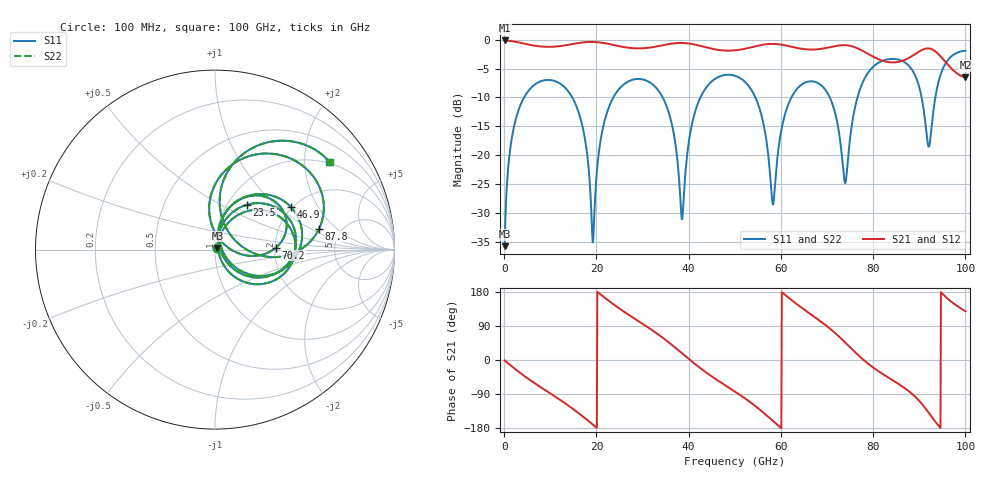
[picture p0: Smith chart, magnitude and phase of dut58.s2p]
! Touchstone file exported from HFSS 2026.1.0
!  File:  C:/ffzhzh/LocalFiles/Ansys_Project_Files/temp_train_TSV_RDL_58_1783622952_33328.aedt
!  Generated:  02:57:29 AM Jul 10, 2026
!  Design:  TSV_RDL
!  Project:  temp_train_TSV_RDL_58_1783622952_33328
! Variables:
!  h_bsmrdl = 4.38um
!  h_ox = 20um
!  h_rdl = 5um
!  h_sub = 87.36um
!  h_tmrdl = 4.51um
!  h_tsv = 87.36um
!  h_via = 3um
!  l_bsmrdl = 303.86um
!  l_sub = 2638.81um
!  l_tmrdl = 310.71um
!  m_sub = 200um
!  pitch = 43.87um
!  r_tsv = 12.69um
!  s_tmrdl = 10um
!  w_bsmrdl = 12.7um
!  w_sub = 500um
!  w_tmrdl = 15.43um
!  x_tsv_center1 = 318.425um
!  x_tsv_center2 = 634.985um
!  x_tsv_center3 = 961.125um
!  x_tsv_center4 = 1277.685um
!  x_tsv_center5 = 1603.825um
!  x_tsv_center6 = 1920.385um
# GHz S MA R 50.000000
! Terminal data exported
! Port[1] = TM_RDL1_1_T1
! Port[2] = TM_RDL5_1_T1
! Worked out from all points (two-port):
!   1000 points, 100 MHz to 100 GHz, reference 50 ohm
!   highest |S21| = -0.12 dB at 100 MHz (marker M1); lowest = -6.5 dB at 100 GHz (marker M2)
!   |S21| within 3 dB of the highest: start of sweep to 80.45 GHz; 87.8 GHz to 94.88 GHz (7.078 GHz wide, 7.75 % of centre)
!   lowest |S11| = -35.8 dB at 100 MHz (marker M3), VSWR 1.03, Z = 51.4 + j0.925 ohm
!   |S11| at or under -10 dB: 14.76 GHz to 23.68 GHz (8.913 GHz wide, 46.4 % of centre); 34.37 GHz to 42.56 GHz (8.19 GHz wide, 21.3 % of centre); 54.47 GHz to 62.28 GHz (7.813 GHz wide, 13.4 % of centre) (the widest 3 of 6)
!   |S22| runs from -35.8 to -1.9 dB; largest |S21 - S12| = 7.9e-13
!   S11 on the Smith chart (normalised r, x): 100 MHz: 1.03, +0.02; 23.5 GHz: 1.23, +0.68; 46.9 GHz: 1.95, +1.22; 70.2 GHz: 2.03, +0.05; 87.8 GHz: 3.42, +1.23; 100 GHz: 0.96, +2.64
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0.1  0.01622 33.7  0.9866 -1.1  0.9866 -1.1  0.01622 33.7
! Gamma 0 0 0 0
! Port Impedance 50 0 50 0
1.8  0.1512 65.2  0.9709 -18.1  0.9709 -18.1  0.1512 65.2
5.1  0.3538 37.9  0.9124 -48.6  0.9124 -48.6  0.3538 37.9
16.8  0.1904 -53.9  0.946 -146.5  0.946 -146.5  0.1904 -53.8
19.3  0.01797 23.6  0.9582 -171.1  0.9582 -171.1  0.01823 23.4
23.5  0.3068 54.6  0.9049 148.7  0.9049 148.7  0.3068 54.5
33.4  0.3645 -21.3  0.8805 67.5  0.8805 67.5  0.3645 -21.3
38.6  0.02772 22.7  0.9385 17.4  0.9385 17.4  0.02762 22.7
41.4  0.2374 72.1  0.9074 -10.8  0.9074 -10.8  0.2374 72.0
46.9  0.4843 29.6  0.8123 -58.7  0.8123 -58.7  0.4843 29.5
50.1  0.4865 6.3  0.8103 -83.9  0.8103 -83.9  0.4866 6.1
55.3  0.2587 -33.5  0.8934 -129.8  0.8934 -129.8  0.2585 -33.8
58.3  0.03725 22.0  0.921 -161.0  0.921 -161.0  0.03578 22.0
61.3  0.2549 70.3  0.888 167.9  0.888 167.9  0.2547 70.6
66.7  0.4365 28.7  0.8222 119.0  0.8222 119.0  0.4364 28.8
70.2  0.3398 1.9  0.8553 87.3  0.8553 87.3  0.3397 1.9
74  0.05755 50.7  0.8975 45.5  0.8975 45.5  0.05703 50.9
77.3  0.3869 87.9  0.8176 6.8  0.8176 6.8  0.3869 88.0
83.4  0.6793 41.7  0.6395 -47.2  0.6395 -47.2  0.6793 41.8
87.8  0.5918 11.4  0.6983 -83.0  0.6983 -83.0  0.5919 11.4
92.1  0.1184 42.0  0.841 -140.0  0.841 -140.0  0.1191 42.0
100  0.8029 37.4  0.4721 128.5  0.4721 128.5  0.8029 37.4
